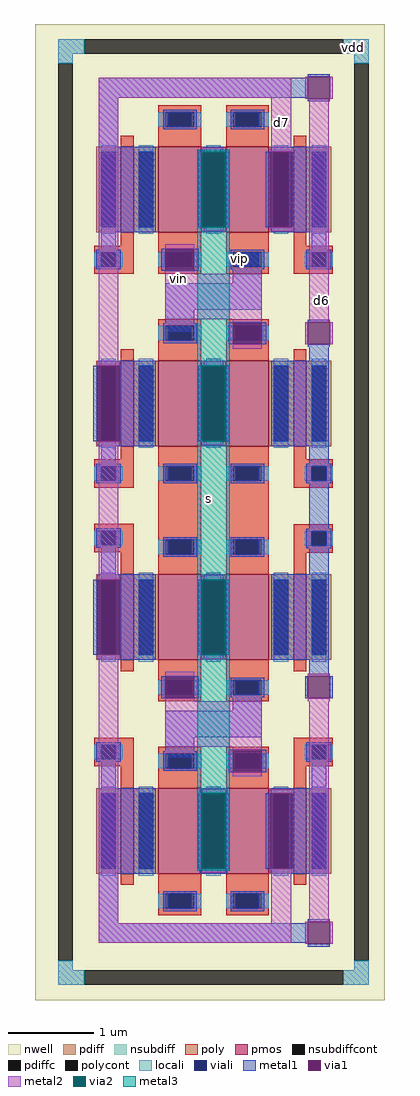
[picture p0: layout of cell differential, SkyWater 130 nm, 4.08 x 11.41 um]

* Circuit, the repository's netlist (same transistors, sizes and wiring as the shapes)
** sch_path: /home/alex/mbkmpolytron/opamp1/mag/differential.sch
.subckt differential S VIN VDD VIP D7 D6
*.PININFO VIN:I VIP:I S:B VDD:B D6:B D7:B
XM6 D6 VIN S VDD sky130_fd_pr__pfet_01v8 L=0.5 W=1 nf=1 m=4
XM7 D7 VIP S VDD sky130_fd_pr__pfet_01v8 L=0.5 W=1 nf=1 m=4
XM1 D6 D6 D6 VDD sky130_fd_pr__pfet_01v8 L=0.15 W=1 nf=1 m=4
XM2 D7 D7 D7 VDD sky130_fd_pr__pfet_01v8 L=0.15 W=1 nf=1 m=4
.ends
.end

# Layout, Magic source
magic
tech sky130A
magscale 1 2
<< nwell >>
rect -194 79 623 587
rect -194 58 415 79
rect 481 69 623 79
rect 418 58 623 69
rect -194 -422 623 58
rect -194 -431 -23 -422
rect -194 -456 -8 -431
rect 43 -456 623 -422
rect -194 -1695 623 -456
<< nsubdiff >>
rect -140 517 -80 551
rect 526 517 586 551
rect -140 495 -106 517
rect 552 495 586 517
rect -140 -1625 -106 -1603
rect 552 -1625 586 -1603
rect -140 -1659 -80 -1625
rect 526 -1659 586 -1625
<< nsubdiffcont >>
rect -80 517 526 551
rect -140 -1603 -106 495
rect 552 -1603 586 495
rect -80 -1659 526 -1625
<< poly >>
rect 6 69 36 80
rect -56 53 36 69
rect -56 19 -40 53
rect -6 19 36 53
rect -56 3 36 19
rect 410 69 440 85
rect 410 53 502 69
rect 410 19 452 53
rect 486 19 502 53
rect 410 3 502 19
rect 6 -431 36 -405
rect -56 -447 36 -431
rect -56 -481 -40 -447
rect -6 -481 36 -447
rect -56 -497 36 -481
rect 410 -431 440 -414
rect 410 -447 502 -431
rect 410 -481 452 -447
rect 486 -481 502 -447
rect 410 -497 502 -481
rect -56 -598 36 -582
rect -56 -632 -40 -598
rect -6 -632 36 -598
rect 94 -603 194 -497
rect 252 -603 352 -497
rect 410 -599 502 -583
rect -56 -648 36 -632
rect 6 -700 36 -648
rect 410 -633 452 -599
rect 486 -633 502 -599
rect 410 -649 502 -633
rect 410 -688 440 -649
rect -56 -1098 36 -1082
rect -56 -1132 -40 -1098
rect -6 -1132 36 -1098
rect -56 -1148 36 -1132
rect 6 -1197 36 -1148
rect 410 -1098 502 -1082
rect 410 -1132 452 -1098
rect 486 -1132 502 -1098
rect 410 -1148 502 -1132
rect 410 -1187 440 -1148
<< polycont >>
rect -40 19 -6 53
rect 452 19 486 53
rect -40 -481 -6 -447
rect 452 -481 486 -447
rect -40 -632 -6 -598
rect 452 -633 486 -599
rect -40 -1132 -6 -1098
rect 452 -1132 486 -1098
<< locali >>
rect -140 517 -80 551
rect 526 517 586 551
rect -140 495 -106 517
rect 552 495 586 517
rect -56 19 -40 53
rect -6 19 10 53
rect 436 19 452 53
rect 486 19 502 53
rect -56 -481 -40 -447
rect -6 -481 10 -447
rect 436 -481 452 -447
rect 486 -481 502 -447
rect -56 -632 -40 -598
rect -6 -632 10 -598
rect 436 -633 452 -599
rect 486 -633 502 -599
rect -56 -1132 -40 -1098
rect -6 -1132 10 -1098
rect 436 -1132 452 -1098
rect 486 -1132 502 -1098
rect -140 -1625 -106 -1603
rect 552 -1625 586 -1603
rect -140 -1659 -80 -1625
rect 526 -1659 586 -1625
<< viali >>
rect -40 19 -6 53
rect 452 19 486 53
rect -40 -481 -6 -447
rect 452 -481 486 -447
rect -40 -632 -6 -598
rect 452 -633 486 -599
rect -40 -1132 -6 -1098
rect 452 -1132 486 -1098
rect 197 -1388 249 -1212
<< metal1 >>
rect 443 464 495 470
rect -46 415 443 461
rect -46 300 0 415
rect 443 406 495 412
rect -46 100 88 300
rect 358 288 492 300
rect 187 112 197 288
rect 249 112 259 288
rect 345 112 355 288
rect 407 112 492 288
rect 358 100 492 112
rect -40 59 -6 100
rect -52 53 6 59
rect -52 19 -40 53
rect -6 19 6 53
rect -52 13 6 19
rect 100 10 110 62
rect 178 10 188 62
rect 452 59 486 100
rect 440 53 498 59
rect 268 -19 336 53
rect 440 19 452 53
rect 486 19 498 53
rect 440 13 498 19
rect 110 -81 336 -19
rect 110 -132 178 -81
rect 443 -110 495 -104
rect 258 -162 268 -110
rect 336 -162 346 -110
rect 443 -168 495 -162
rect 446 -200 492 -168
rect -46 -212 88 -200
rect -59 -388 -49 -212
rect 3 -388 88 -212
rect 187 -388 197 -212
rect 249 -388 259 -212
rect -46 -400 88 -388
rect 358 -400 492 -200
rect -40 -441 -6 -400
rect 446 -441 492 -400
rect -52 -447 6 -441
rect -52 -481 -40 -447
rect -6 -481 6 -447
rect -52 -487 6 -481
rect 440 -447 498 -441
rect 440 -481 452 -447
rect 486 -481 498 -447
rect 440 -487 498 -481
rect -52 -598 6 -592
rect 446 -593 492 -487
rect -52 -632 -40 -598
rect -6 -632 6 -598
rect -52 -638 6 -632
rect 440 -599 498 -593
rect 440 -633 452 -599
rect 486 -633 498 -599
rect -40 -700 -6 -638
rect 440 -639 498 -633
rect 446 -700 492 -639
rect -46 -712 88 -700
rect -59 -888 -49 -712
rect 3 -888 88 -712
rect 187 -888 197 -712
rect 249 -888 259 -712
rect -46 -900 88 -888
rect 358 -900 492 -700
rect 446 -938 492 -900
rect 100 -990 110 -938
rect 178 -990 188 -938
rect 268 -1019 336 -981
rect 437 -990 443 -938
rect 495 -990 501 -938
rect 110 -1081 336 -1019
rect -52 -1098 6 -1092
rect -52 -1132 -40 -1098
rect -6 -1132 6 -1098
rect 110 -1127 178 -1081
rect 440 -1098 498 -1092
rect -52 -1138 6 -1132
rect -40 -1200 -6 -1138
rect 258 -1162 268 -1110
rect 336 -1162 346 -1110
rect 440 -1132 452 -1098
rect 486 -1132 498 -1098
rect 440 -1138 498 -1132
rect 452 -1200 486 -1138
rect -46 -1400 88 -1200
rect 191 -1212 255 -1200
rect 358 -1212 492 -1200
rect 187 -1388 197 -1212
rect 249 -1388 259 -1212
rect 345 -1388 355 -1212
rect 407 -1388 492 -1212
rect 191 -1400 255 -1388
rect 358 -1400 492 -1388
rect -46 -1515 0 -1400
rect 443 -1512 495 -1506
rect -46 -1561 443 -1515
rect 443 -1570 495 -1564
<< via1 >>
rect 443 412 495 464
rect 197 112 249 288
rect 355 112 407 288
rect 110 10 178 62
rect 268 -162 336 -110
rect 443 -162 495 -110
rect -49 -388 3 -212
rect 197 -388 249 -212
rect -49 -888 3 -712
rect 197 -888 249 -712
rect 110 -990 178 -938
rect 443 -990 495 -938
rect 268 -1162 336 -1110
rect 197 -1388 249 -1212
rect 355 -1388 407 -1212
rect 443 -1564 495 -1512
<< metal2 >>
rect -46 415 404 461
rect -46 -202 0 415
rect 358 298 404 415
rect 437 412 443 464
rect 495 412 501 464
rect 195 288 251 298
rect 195 102 251 112
rect 355 288 407 298
rect 355 102 407 112
rect 110 62 178 72
rect 110 3 178 10
rect 110 -103 336 3
rect 268 -110 336 -103
rect 446 -110 492 412
rect 437 -162 443 -110
rect 495 -162 501 -110
rect 268 -172 336 -162
rect -49 -212 3 -202
rect -49 -398 3 -388
rect 195 -212 251 -202
rect 195 -398 251 -388
rect -46 -702 0 -398
rect -49 -712 3 -702
rect -49 -898 3 -888
rect 195 -712 251 -702
rect 195 -898 251 -888
rect -46 -1515 0 -898
rect 110 -938 178 -928
rect 110 -997 178 -990
rect 443 -938 495 -932
rect 443 -996 495 -990
rect 110 -1103 336 -997
rect 268 -1110 336 -1103
rect 268 -1172 336 -1162
rect 195 -1212 251 -1202
rect 195 -1398 251 -1388
rect 355 -1212 407 -1202
rect 355 -1398 407 -1388
rect 358 -1515 404 -1398
rect 446 -1512 492 -996
rect -46 -1561 404 -1515
rect 437 -1564 443 -1512
rect 495 -1564 501 -1512
<< via2 >>
rect 195 112 197 288
rect 197 112 249 288
rect 249 112 251 288
rect 195 -388 197 -212
rect 197 -388 249 -212
rect 249 -388 251 -212
rect 195 -888 197 -712
rect 197 -888 249 -712
rect 249 -888 251 -712
rect 195 -1388 197 -1212
rect 197 -1388 249 -1212
rect 249 -1388 251 -1212
<< metal3 >>
rect 185 288 261 293
rect 185 112 195 288
rect 251 112 261 288
rect 185 -212 261 112
rect 185 -388 195 -212
rect 251 -388 261 -212
rect 185 -712 261 -388
rect 185 -888 195 -712
rect 251 -888 261 -712
rect 185 -1212 261 -888
rect 185 -1388 195 -1212
rect 251 -1388 261 -1212
rect 185 -1393 261 -1388
use sky130_fd_pr__pfet_01v8_2XUZHN  sky130_fd_pr__pfet_01v8_2XUZHN_0
transform 1 0 21 0 1 -800
box -109 -162 109 162
use sky130_fd_pr__pfet_01v8_2XUZHN  sky130_fd_pr__pfet_01v8_2XUZHN_1
transform 1 0 425 0 1 200
box -109 -162 109 162
use sky130_fd_pr__pfet_01v8_2XUZHN  sky130_fd_pr__pfet_01v8_2XUZHN_2
transform 1 0 425 0 1 -300
box -109 -162 109 162
use sky130_fd_pr__pfet_01v8_2XUZHN  sky130_fd_pr__pfet_01v8_2XUZHN_3
transform 1 0 425 0 1 -800
box -109 -162 109 162
use sky130_fd_pr__pfet_01v8_2XUZHN  sky130_fd_pr__pfet_01v8_2XUZHN_4
transform 1 0 425 0 1 -1300
box -109 -162 109 162
use sky130_fd_pr__pfet_01v8_2XUZHN  sky130_fd_pr__pfet_01v8_2XUZHN_5
transform 1 0 21 0 1 200
box -109 -162 109 162
use sky130_fd_pr__pfet_01v8_2XUZHN  sky130_fd_pr__pfet_01v8_2XUZHN_6
transform 1 0 21 0 1 -300
box -109 -162 109 162
use sky130_fd_pr__pfet_01v8_2XUZHN  sky130_fd_pr__pfet_01v8_2XUZHN_7
transform 1 0 21 0 1 -1300
box -109 -162 109 162
use sky130_fd_pr__pfet_01v8_VQXXLL  sky130_fd_pr__pfet_01v8_VQXXLL_0
transform 1 0 223 0 1 200
box -223 -200 223 200
use sky130_fd_pr__pfet_01v8_VQXXLL  sky130_fd_pr__pfet_01v8_VQXXLL_1
transform 1 0 223 0 1 -300
box -223 -200 223 200
use sky130_fd_pr__pfet_01v8_VQXXLL  sky130_fd_pr__pfet_01v8_VQXXLL_2
transform 1 0 223 0 1 -800
box -223 -200 223 200
use sky130_fd_pr__pfet_01v8_VQXXLL  sky130_fd_pr__pfet_01v8_VQXXLL_3
transform 1 0 223 0 1 -1300
box -223 -200 223 200
<< labels >>
flabel metal3 205 -526 217 -520 0 FreeSans 480 0 0 0 s
port 1 nsew
flabel metal2 134 -10 146 -4 0 FreeSans 480 0 0 0 vin
port 2 nsew
flabel metal1 277 35 289 41 0 FreeSans 480 0 0 0 vip
port 3 nsew
flabel metal2 375 354 387 360 0 FreeSans 480 0 0 0 d7
port 4 nsew
flabel metal2 470 -62 482 -56 0 FreeSans 480 0 0 0 d6
port 5 nsew
flabel locali 544 529 556 535 0 FreeSans 480 0 0 0 vdd
port 0 nsew
<< end >>

# cell sky130_fd_pr__pfet_01v8_2XUZHN: kit device sky130_fd_pr__pfet_01v8, w 1 l 0.15 m 1 nf 1 diffcov 100 polycov 100 guard 0 glc 1 grc 1 gtc 1 gbc 1 tbcov 100 rlcov 100 topc 0 botc 0 poverlap 0 doverlap 1 lmin 0.15 wmin 0.42 compatible {sky130_fd_pr__pfet_01v8 sky130_fd_pr__pfet_01v8_lvt sky130_fd_pr__pfet_01v8_hvt sky130_fd_pr__pfet_g5v0d10v5} full_metal 1 viasrc 100 viadrn 100 viagate 100 viagb 0 viagr 0 viagl 0 viagt 0

# cell sky130_fd_pr__pfet_01v8_VQXXLL: kit device sky130_fd_pr__pfet_01v8, w 1 l 0.5 m 1 nf 2 diffcov 100 polycov 100 guard 0 glc 1 grc 1 gtc 1 gbc 1 tbcov 100 rlcov 100 topc 1 botc 1 poverlap 0 doverlap 1 lmin 0.15 wmin 0.42 compatible {sky130_fd_pr__pfet_01v8 sky130_fd_pr__pfet_01v8_lvt sky130_fd_pr__pfet_01v8_hvt sky130_fd_pr__pfet_g5v0d10v5} full_metal 1 viasrc 100 viadrn 100 viagate 80 viagb 0 viagr 0 viagl 0 viagt 0
